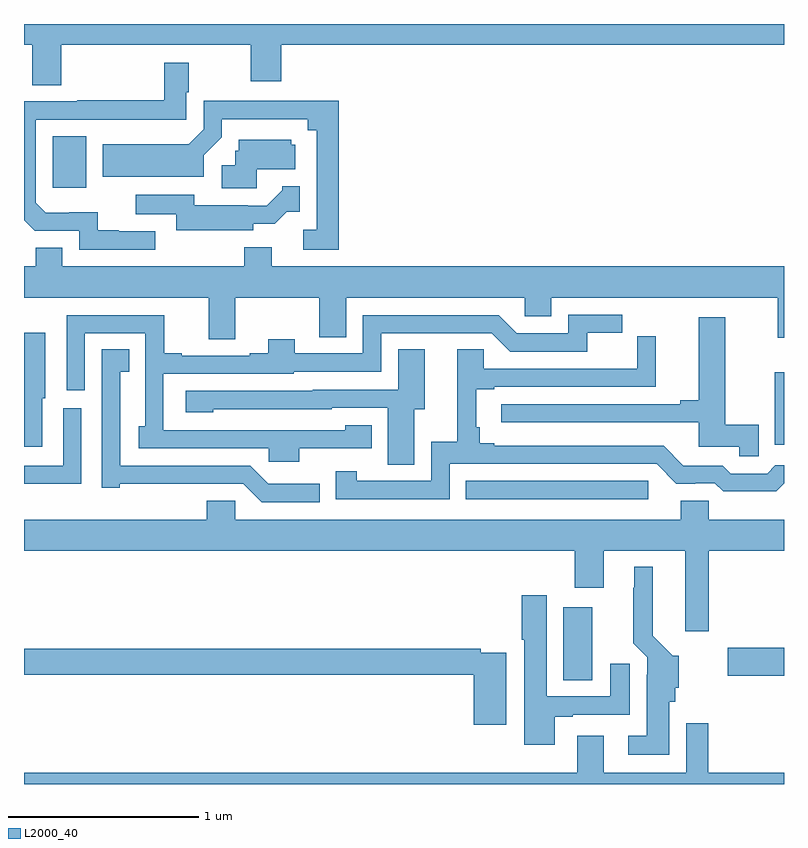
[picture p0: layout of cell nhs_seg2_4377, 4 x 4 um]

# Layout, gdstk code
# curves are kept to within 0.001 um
import gdstk
lib = gdstk.Library(unit=1e-6, precision=1e-09)
def R(c, l, rs):  # rectangles x0, y0, x1, y1
    for r in rs: c.add(gdstk.rectangle(r[:2], r[2:], *l))
def P(c, l, *ps):  # polygons
    for p in ps: c.add(gdstk.Polygon(p, *l))
L2000_40 = (2000, 40)

nhs_seg2_4377 = lib.new_cell('nhs_seg2_4377')
R(nhs_seg2_4377, L2000_40, [(351.839,588.346,351.991,588.73), (352.704,588.371,353,588.518), (351.325,589.299,352.285,589.395), (352.952,589.586,353,589.966), (349.151,590.937,349.327,591.208)])
P(nhs_seg2_4377, L2000_40, [(350.354,591.692),(353,591.692),(353,591.8),(349,591.8),(349,591.692),(349.043,591.692),(349.043,591.478),(349.196,591.478),(349.196,591.692),(350.194,591.692),(350.194,591.498),(350.354,591.498)],
  [(349.69,590.709),(349.499,590.709),(349.499,590.714),(349.388,590.714),(349.388,590.808),(349.115,590.807),(349.062,590.859),(349.062,591.297),(349.854,591.296),(349.854,591.441),(349.867,591.441),(349.867,591.595),(349.738,591.595),(349.738,591.398),(349.279,591.398),(349.279,591.393),(349,591.393),(349,590.768),(349.056,590.712),(349.29,590.712),(349.29,590.613),(349.69,590.613)],
  [(350.657,591.396),(349.947,591.396),(349.947,591.246),(349.867,591.166),(349.415,591.166),(349.415,590.996),(349.947,590.996),(349.947,591.11),(350.04,591.203),(350.04,591.3),(350.494,591.3),(350.494,591.242),(350.541,591.242),(350.541,590.718),(350.469,590.718),(350.469,590.613),(350.657,590.613)],
  [(350.224,591.035),(350.428,591.035),(350.428,591.165),(350.406,591.165),(350.406,591.19),(350.129,591.19),(350.129,591.132),(350.113,591.132),(350.113,591.057),(350.04,591.057),(350.04,590.936),(350.224,590.936)],
  [(350.206,590.75),(350.321,590.75),(350.382,590.811),(350.451,590.811),(350.451,590.947),(350.358,590.947),(350.358,590.925),(350.277,590.844),(350.177,590.844),(350.177,590.847),(349.896,590.847),(349.896,590.902),(349.587,590.902),(349.587,590.798),(349.8,590.798),(349.8,590.714),(350.206,590.714)],
  [(350.113,590.36),(350.555,590.36),(350.555,590.152),(350.695,590.152),(350.695,590.36),(351.636,590.36),(351.636,590.262),(351.775,590.262),(351.775,590.36),(352.967,590.36),(352.967,590.148),(353,590.148),(353,590.524),(350.305,590.524),(350.305,590.626),(350.158,590.626),(350.158,590.524),(349.201,590.524),(349.201,590.623),(349.061,590.623),(349.061,590.524),(349,590.524),(349,590.36),(349.973,590.36),(349.973,590.14),(350.113,590.14)],
  [(350.448,589.566),(350.83,589.566),(350.83,589.687),(350.691,589.687),(350.691,589.662),(349.734,589.662),(349.734,589.959),(350.421,589.959),(350.421,589.971),(350.88,589.971),(350.88,590.172),(351.462,590.172),(351.558,590.076),(351.965,590.076),(351.965,590.174),(352.148,590.174),(352.148,590.271),(351.864,590.271),(351.864,590.172),(351.594,590.172),(351.498,590.268),(350.784,590.268),(350.784,590.067),(350.425,590.067),(350.425,590.14),(350.285,590.14),(350.285,590.068),(350.189,590.068),(350.189,590.055),(349.831,590.055),(349.831,590.068),(349.737,590.068),(349.737,590.268),(349.224,590.268),(349.224,589.872),(349.32,589.872),(349.32,590.172),(349.638,590.172),(349.637,589.682),(349.604,589.682),(349.604,589.566),(350.289,589.566),(350.289,589.497),(350.448,589.497)],
  [(352.867,589.691),(352.69,589.691),(352.69,590.257),(352.55,590.257),(352.55,589.82),(352.454,589.82),(352.454,589.8),(351.513,589.8),(351.513,589.704),(352.55,589.704),(352.55,589.575),(352.765,589.575),(352.765,589.524),(352.867,589.524)],
  [(349.096,589.83),(349.111,589.83),(349.111,590.176),(349,590.176),(349,589.575),(349.096,589.575)],
  [(351.24,589.485),(352.329,589.485),(352.434,589.38),(352.533,589.38),(352.533,589.383),(352.635,589.383),(352.679,589.34),(352.958,589.34),(353,589.382),(353,589.477),(352.954,589.477),(352.911,589.434),(352.72,589.434),(352.678,589.476),(352.471,589.476),(352.366,589.581),(351.475,589.581),(351.475,589.594),(351.398,589.594),(351.398,589.678),(351.379,589.678),(351.379,589.878),(351.475,589.878),(351.475,589.89),(352.326,589.89),(352.326,590.156),(352.227,590.156),(352.227,589.986),(351.42,589.986),(351.42,590.087),(351.281,590.087),(351.281,589.601),(351.144,589.601),(351.144,589.395),(350.752,589.395),(350.752,589.447),(350.641,589.447),(350.641,589.299),(351.24,589.299)],
  [(351.055,589.772),(351.109,589.772),(351.109,590.087),(350.969,590.087),(350.969,589.875),(350.52,589.875),(350.52,589.869),(349.851,589.869),(349.851,589.757),(349.995,589.757),(349.995,589.773),(350.619,589.773),(350.619,589.779),(350.915,589.779),(350.915,589.48),(351.055,589.48)],
  [(350.556,589.38),(350.286,589.38),(350.19,589.476),(349.506,589.476),(349.507,589.969),(349.553,589.969),(349.553,590.087),(349.41,590.087),(349.41,589.358),(349.503,589.358),(349.503,589.379),(350.154,589.38),(350.25,589.284),(350.556,589.284)],
  [(349.302,589.777),(349.206,589.777),(349.206,589.476),(349,589.476),(349,589.38),(349.057,589.38),(349.057,589.379),(349.302,589.379)],
  [(352.604,589.028),(353,589.028),(353,589.192),(352.604,589.192),(352.604,589.29),(352.457,589.29),(352.457,589.192),(350.112,589.192),(350.112,589.29),(349.961,589.29),(349.961,589.192),(349,589.192),(349,589.028),(351.899,589.028),(351.899,588.834),(352.051,588.834),(352.051,589.028),(352.481,589.028),(352.481,588.603),(352.604,588.603)],
  [(352.396,588.234),(352.427,588.234),(352.427,588.307),(352.447,588.307),(352.447,588.474),(352.414,588.474),(352.309,588.58),(352.309,588.943),(352.211,588.943),(352.211,588.833),(352.207,588.833),(352.207,588.542),(352.281,588.468),(352.281,588.374),(352.277,588.374),(352.277,588.055),(352.179,588.055),(352.179,587.954),(352.396,587.954)],
  [(351.793,588.153),(351.889,588.153),(351.889,588.165),(352.189,588.165),(352.189,588.433),(352.085,588.433),(352.085,588.261),(351.751,588.261),(351.751,588.793),(351.62,588.793),(351.62,588.559),(351.632,588.559),(351.632,588.006),(351.793,588.006)],
  [(351.538,588.492),(351.404,588.492),(351.404,588.512),(349,588.512),(349,588.376),(351.368,588.376),(351.368,588.111),(351.538,588.111)],
  [(353,587.86),(352.601,587.86),(352.601,588.121),(352.485,588.121),(352.485,587.86),(352.051,587.86),(352.051,588.055),(351.911,588.055),(351.911,587.86),(349,587.86),(349,587.8),(353,587.8)])

lib.write_gds('nhs_seg2_4377.gds')
